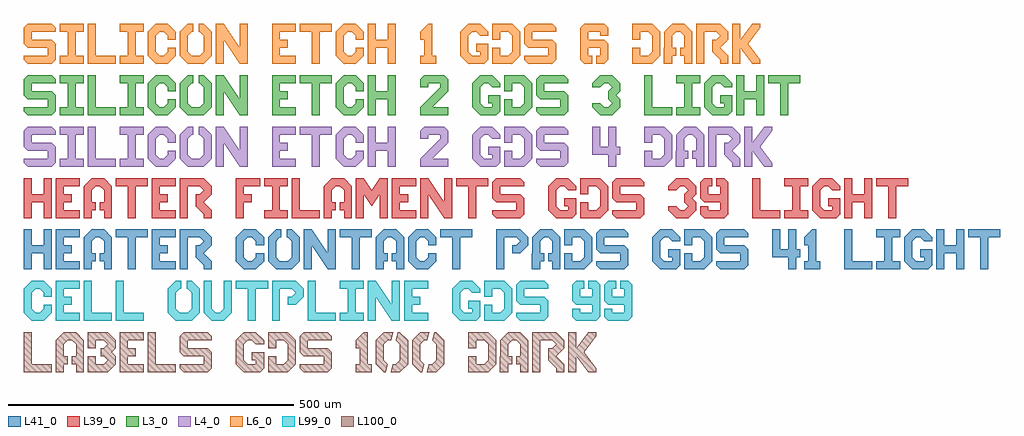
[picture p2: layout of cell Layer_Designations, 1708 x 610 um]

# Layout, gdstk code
import gdstk
lib = gdstk.Library(unit=1e-6, precision=1e-09)
def P(c, l, *ps):  # polygons
    for p in ps: c.add(gdstk.Polygon(p, *l))
L3_0 = (3, 0)
L4_0 = (4, 0)
L6_0 = (6, 0)
L39_0 = (39, 0)
L41_0 = (41, 0)
L99_0 = (99, 0)
L100_0 = (100, 0)

layer_designations = lib.new_cell('Layer_Designations')
P(layer_designations, L3_0, [(14,-90),(7,-83),(7,-76),(49,-76),(49,-62),(14,-62),(7,-55),(7,-27),(14,-20),(56,-20),(63,-27),(63,-34),(21,-34),(21,-48),(56,-48),(63,-55),(63,-83),(56,-90)],
  [(70,-90),(70,-76),(84,-76),(84,-34),(70,-34),(70,-20),(112,-20),(112,-34),(98,-34),(98,-76),(112,-76),(112,-90)],
  [(119,-90),(119,-20),(133,-20),(133,-76),(168,-76),(168,-90)],
  [(175,-90),(175,-76),(189,-76),(189,-34),(175,-34),(175,-20),(217,-20),(217,-34),(203,-34),(203,-76),(217,-76),(217,-90)],
  [(238,-90),(224,-76),(224,-34),(238,-20),(259,-20),(273,-34),(273,-48),(259,-48),(259,-41),(252,-34),(245,-34),(238,-41),(238,-69),(245,-76),(252,-76),(259,-69),(259,-62),(273,-62),(273,-76),(259,-90)],
  [(294,-90),(280,-76),(280,-34),(294,-20),(303.1,-20),(303.1,-34),(301,-34),(294,-41),(294,-69),(301,-76),(315,-76),(322,-69),(322,-41),(315,-34),(312.9,-34),(312.9,-20),(322,-20),(336,-34),(336,-76),(322,-90)],
  [(343,-90),(343,-20),(357,-20),(385,-62),(385,-20),(399,-20),(399,-90),(385,-90),(357,-48),(357,-90)],
  [(441,-90),(441,-20),(483,-20),(483,-34),(455,-34),(455,-48),(469,-48),(469,-62),(455,-62),(455,-76),(483,-76),(483,-90)],
  [(511,-90),(511,-34),(490,-34),(490,-20),(546,-20),(546,-34),(525,-34),(525,-90)],
  [(567,-90),(553,-76),(553,-34),(567,-20),(588,-20),(602,-34),(602,-48),(588,-48),(588,-41),(581,-34),(574,-34),(567,-41),(567,-69),(574,-76),(581,-76),(588,-69),(588,-62),(602,-62),(602,-76),(588,-90)],
  [(609,-90),(609,-20),(623,-20),(623,-48),(644,-48),(644,-20),(658,-20),(658,-90),(644,-90),(644,-62),(623,-62),(623,-90)],
  [(700,-90),(700,-76),(735,-41),(735,-34),(714,-34),(714,-41),(700,-41),(700,-27),(707,-20),(742,-20),(749,-27),(749,-48),(721,-76),(749,-76),(749,-90)],
  [(805,-90),(791,-76),(791,-34),(805,-20),(826,-20),(840,-34),(840,-41),(826,-41),(819,-34),(812,-34),(805,-41),(805,-69),(812,-76),(826,-76),(826,-69),(819,-69),(819,-55),(840,-55),(840,-83),(833,-90)],
  [(847,-90),(847,-62),(861,-62),(861,-76),(875,-76),(882,-69),(882,-41),(875,-34),(861,-34),(861,-48),(847,-48),(847,-20),(882,-20),(896,-34),(896,-76),(882,-90)],
  [(910,-90),(903,-83),(903,-76),(945,-76),(945,-62),(910,-62),(903,-55),(903,-27),(910,-20),(952,-20),(959,-27),(959,-34),(917,-34),(917,-48),(952,-48),(959,-55),(959,-83),(952,-90)],
  [(1015,-90),(1001,-76),(1001,-69),(1015,-69),(1022,-76),(1029,-76),(1036,-69),(1029,-62),(1029,-48),(1036,-41),(1029,-34),(1022,-34),(1015,-41),(1001,-41),(1001,-34),(1015,-20),(1036,-20),(1050,-34),(1050,-48),(1043,-55),(1050,-62),(1050,-76),(1036,-90)],
  [(1092,-90),(1092,-20),(1106,-20),(1106,-76),(1141,-76),(1141,-90)],
  [(1148,-90),(1148,-76),(1162,-76),(1162,-34),(1148,-34),(1148,-20),(1190,-20),(1190,-34),(1176,-34),(1176,-76),(1190,-76),(1190,-90)],
  [(1211,-90),(1197,-76),(1197,-34),(1211,-20),(1232,-20),(1246,-34),(1246,-41),(1232,-41),(1225,-34),(1218,-34),(1211,-41),(1211,-69),(1218,-76),(1232,-76),(1232,-69),(1225,-69),(1225,-55),(1246,-55),(1246,-83),(1239,-90)],
  [(1253,-90),(1253,-20),(1267,-20),(1267,-48),(1288,-48),(1288,-20),(1302,-20),(1302,-90),(1288,-90),(1288,-62),(1267,-62),(1267,-90)],
  [(1330,-90),(1330,-34),(1309,-34),(1309,-20),(1365,-20),(1365,-34),(1344,-34),(1344,-90)])
P(layer_designations, L4_0, [(14,-180),(7,-173),(7,-166),(49,-166),(49,-152),(14,-152),(7,-145),(7,-117),(14,-110),(56,-110),(63,-117),(63,-124),(21,-124),(21,-138),(56,-138),(63,-145),(63,-173),(56,-180)],
  [(70,-180),(70,-166),(84,-166),(84,-124),(70,-124),(70,-110),(112,-110),(112,-124),(98,-124),(98,-166),(112,-166),(112,-180)],
  [(119,-180),(119,-110),(133,-110),(133,-166),(168,-166),(168,-180)],
  [(175,-180),(175,-166),(189,-166),(189,-124),(175,-124),(175,-110),(217,-110),(217,-124),(203,-124),(203,-166),(217,-166),(217,-180)],
  [(238,-180),(224,-166),(224,-124),(238,-110),(259,-110),(273,-124),(273,-138),(259,-138),(259,-131),(252,-124),(245,-124),(238,-131),(238,-159),(245,-166),(252,-166),(259,-159),(259,-152),(273,-152),(273,-166),(259,-180)],
  [(294,-180),(280,-166),(280,-124),(294,-110),(303.1,-110),(303.1,-124),(301,-124),(294,-131),(294,-159),(301,-166),(315,-166),(322,-159),(322,-131),(315,-124),(312.9,-124),(312.9,-110),(322,-110),(336,-124),(336,-166),(322,-180)],
  [(343,-180),(343,-110),(357,-110),(385,-152),(385,-110),(399,-110),(399,-180),(385,-180),(357,-138),(357,-180)],
  [(441,-180),(441,-110),(483,-110),(483,-124),(455,-124),(455,-138),(469,-138),(469,-152),(455,-152),(455,-166),(483,-166),(483,-180)],
  [(511,-180),(511,-124),(490,-124),(490,-110),(546,-110),(546,-124),(525,-124),(525,-180)],
  [(567,-180),(553,-166),(553,-124),(567,-110),(588,-110),(602,-124),(602,-138),(588,-138),(588,-131),(581,-124),(574,-124),(567,-131),(567,-159),(574,-166),(581,-166),(588,-159),(588,-152),(602,-152),(602,-166),(588,-180)],
  [(609,-180),(609,-110),(623,-110),(623,-138),(644,-138),(644,-110),(658,-110),(658,-180),(644,-180),(644,-152),(623,-152),(623,-180)],
  [(700,-180),(700,-166),(735,-131),(735,-124),(714,-124),(714,-131),(700,-131),(700,-117),(707,-110),(742,-110),(749,-117),(749,-138),(721,-166),(749,-166),(749,-180)],
  [(805,-180),(791,-166),(791,-124),(805,-110),(826,-110),(840,-124),(840,-131),(826,-131),(819,-124),(812,-124),(805,-131),(805,-159),(812,-166),(826,-166),(826,-159),(819,-159),(819,-145),(840,-145),(840,-173),(833,-180)],
  [(847,-180),(847,-152),(861,-152),(861,-166),(875,-166),(882,-159),(882,-131),(875,-124),(861,-124),(861,-138),(847,-138),(847,-110),(882,-110),(896,-124),(896,-166),(882,-180)],
  [(910,-180),(903,-173),(903,-166),(945,-166),(945,-152),(910,-152),(903,-145),(903,-117),(910,-110),(952,-110),(959,-117),(959,-124),(917,-124),(917,-138),(952,-138),(959,-145),(959,-173),(952,-180)],
  [(1029,-180),(1029,-159),(1001,-159),(1001,-110),(1015,-110),(1015,-145),(1029,-145),(1029,-110),(1043,-110),(1043,-145),(1050,-145),(1050,-159),(1043,-159),(1043,-180)],
  [(1092,-180),(1092,-152),(1106,-152),(1106,-166),(1120,-166),(1127,-159),(1127,-131),(1120,-124),(1106,-124),(1106,-138),(1092,-138),(1092,-110),(1127,-110),(1141,-124),(1141,-166),(1127,-180)],
  [(1147.93,-180),(1148,-124),(1162,-110),(1183.07,-110),(1197,-124),(1197,-180),(1183.07,-180),(1183.07,-166),(1176,-166),(1176,-152),(1183.07,-152),(1183.07,-131),(1176,-124),(1169,-124),(1162,-131),(1162,-152),(1169,-152),(1169,-166),(1162,-166),(1162,-180)],
  [(1204,-180),(1204,-110),(1246,-110),(1260,-124),(1260,-138),(1246,-152),(1260,-166),(1260,-180),(1246,-180),(1246,-173),(1232,-159),(1232,-138),(1239,-138),(1246,-131),(1239,-124),(1218,-124),(1218,-180)],
  [(1267,-180),(1267,-110),(1281,-110),(1281,-138),(1302,-110),(1316,-110),(1316,-117),(1295,-145),(1316,-173),(1316,-180),(1302,-180),(1281,-152),(1281,-180)])
P(layer_designations, L6_0, [(14,0),(7,7),(7,14),(49,14),(49,28),(14,28),(7,35),(7,63),(14,70),(56,70),(63,63),(63,56),(21,56),(21,42),(56,42),(63,35),(63,7),(56,0)],
  [(70,0),(70,14),(84,14),(84,56),(70,56),(70,70),(112,70),(112,56),(98,56),(98,14),(112,14),(112,0)],
  [(119,0),(119,70),(133,70),(133,14),(168,14),(168,0)],
  [(175,0),(175,14),(189,14),(189,56),(175,56),(175,70),(217,70),(217,56),(203,56),(203,14),(217,14),(217,0)],
  [(238,0),(224,14),(224,56),(238,70),(259,70),(273,56),(273,42),(259,42),(259,49),(252,56),(245,56),(238,49),(238,21),(245,14),(252,14),(259,21),(259,28),(273,28),(273,14),(259,0)],
  [(294,0),(280,14),(280,56),(294,70),(303.1,70),(303.1,56),(301,56),(294,49),(294,21),(301,14),(315,14),(322,21),(322,49),(315,56),(312.9,56),(312.9,70),(322,70),(336,56),(336,14),(322,0)],
  [(343,0),(343,70),(357,70),(385,28),(385,70),(399,70),(399,0),(385,0),(357,42),(357,0)],
  [(441,0),(441,70),(483,70),(483,56),(455,56),(455,42),(469,42),(469,28),(455,28),(455,14),(483,14),(483,0)],
  [(511,0),(511,56),(490,56),(490,70),(546,70),(546,56),(525,56),(525,0)],
  [(567,0),(553,14),(553,56),(567,70),(588,70),(602,56),(602,42),(588,42),(588,49),(581,56),(574,56),(567,49),(567,21),(574,14),(581,14),(588,21),(588,28),(602,28),(602,14),(588,0)],
  [(609,0),(609,70),(623,70),(623,42),(644,42),(644,70),(658,70),(658,0),(644,0),(644,28),(623,28),(623,0)],
  [(700,0),(700,14),(707,14),(707,42),(700,42),(700,56),(714,70),(721,70),(721,14),(728,14),(728,0)],
  [(784,0),(770,14),(770,56),(784,70),(805,70),(819,56),(819,49),(805,49),(798,56),(791,56),(784,49),(784,21),(791,14),(805,14),(805,21),(798,21),(798,35),(819,35),(819,7),(812,0)],
  [(826,0),(826,28),(840,28),(840,14),(854,14),(861,21),(861,49),(854,56),(840,56),(840,42),(826,42),(826,70),(861,70),(875,56),(875,14),(861,0)],
  [(889,0),(882,7),(882,14),(924,14),(924,28),(889,28),(882,35),(882,63),(889,70),(931,70),(938,63),(938,56),(896,56),(896,42),(931,42),(938,35),(938,7),(931,0)],
  [(987,0),(980,7),(980,63),(987,70),(1022,70),(1029,63),(1029,49),(1015,49),(1015,56),(994,56),(994,42),(1022,42),(1029,35),(1029,7),(1022,0),(1008,0),(1008,14),(1015,14),(1015,28),(994,28),(994,14),(1001,14),(1001,0)],
  [(1071,0),(1071,28),(1085,28),(1085,14),(1099,14),(1106,21),(1106,49),(1099,56),(1085,56),(1085,42),(1071,42),(1071,70),(1106,70),(1120,56),(1120,14),(1106,0)],
  [(1126.93,0),(1127,56),(1141,70),(1162.07,70),(1176,56),(1176,0),(1162.07,0),(1162.07,14),(1155,14),(1155,28),(1162.07,28),(1162.07,49),(1155,56),(1148,56),(1141,49),(1141,28),(1148,28),(1148,14),(1141,14),(1141,0)],
  [(1183,0),(1183,70),(1225,70),(1239,56),(1239,42),(1225,28),(1239,14),(1239,0),(1225,0),(1225,7),(1211,21),(1211,42),(1218,42),(1225,49),(1218,56),(1197,56),(1197,0)],
  [(1246,0),(1246,70),(1260,70),(1260,42),(1281,70),(1295,70),(1295,63),(1274,35),(1295,7),(1295,0),(1281,0),(1260,28),(1260,0)])
P(layer_designations, L39_0, [(7,-270),(7,-200),(21,-200),(21,-228),(42,-228),(42,-200),(56,-200),(56,-270),(42,-270),(42,-242),(21,-242),(21,-270)],
  [(63,-270),(63,-200),(105,-200),(105,-214),(77,-214),(77,-228),(91,-228),(91,-242),(77,-242),(77,-256),(105,-256),(105,-270)],
  [(111.93,-270),(112,-214),(126,-200),(147.07,-200),(161,-214),(161,-270),(147.07,-270),(147.07,-256),(140,-256),(140,-242),(147.07,-242),(147.07,-221),(140,-214),(133,-214),(126,-221),(126,-242),(133,-242),(133,-256),(126,-256),(126,-270)],
  [(189,-270),(189,-214),(168,-214),(168,-200),(224,-200),(224,-214),(203,-214),(203,-270)],
  [(231,-270),(231,-200),(273,-200),(273,-214),(245,-214),(245,-228),(259,-228),(259,-242),(245,-242),(245,-256),(273,-256),(273,-270)],
  [(280,-270),(280,-200),(322,-200),(336,-214),(336,-228),(322,-242),(336,-256),(336,-270),(322,-270),(322,-263),(308,-249),(308,-228),(315,-228),(322,-221),(315,-214),(294,-214),(294,-270)],
  [(378,-270),(378,-200),(420,-200),(420,-214),(392,-214),(392,-228),(406,-228),(406,-242),(392,-242),(392,-270)],
  [(427,-270),(427,-256),(441,-256),(441,-214),(427,-214),(427,-200),(469,-200),(469,-214),(455,-214),(455,-256),(469,-256),(469,-270)],
  [(476,-270),(476,-200),(490,-200),(490,-256),(525,-256),(525,-270)],
  [(531.93,-270),(532,-214),(546,-200),(567.07,-200),(581,-214),(581,-270),(567.07,-270),(567.07,-256),(560,-256),(560,-242),(567.07,-242),(567.07,-221),(560,-214),(553,-214),(546,-221),(546,-242),(553,-242),(553,-256),(546,-256),(546,-270)],
  [(588,-270),(588,-200),(602,-200),(616,-221),(630,-200),(644,-200),(644,-270),(630,-270),(630,-228),(616,-249),(602,-228),(602,-270)],
  [(651,-270),(651,-200),(693,-200),(693,-214),(665,-214),(665,-228),(679,-228),(679,-242),(665,-242),(665,-256),(693,-256),(693,-270)],
  [(700,-270),(700,-200),(714,-200),(742,-242),(742,-200),(756,-200),(756,-270),(742,-270),(714,-228),(714,-270)],
  [(784,-270),(784,-214),(763,-214),(763,-200),(819,-200),(819,-214),(798,-214),(798,-270)],
  [(833,-270),(826,-263),(826,-256),(868,-256),(868,-242),(833,-242),(826,-235),(826,-207),(833,-200),(875,-200),(882,-207),(882,-214),(840,-214),(840,-228),(875,-228),(882,-235),(882,-263),(875,-270)],
  [(938,-270),(924,-256),(924,-214),(938,-200),(959,-200),(973,-214),(973,-221),(959,-221),(952,-214),(945,-214),(938,-221),(938,-249),(945,-256),(959,-256),(959,-249),(952,-249),(952,-235),(973,-235),(973,-263),(966,-270)],
  [(980,-270),(980,-242),(994,-242),(994,-256),(1008,-256),(1015,-249),(1015,-221),(1008,-214),(994,-214),(994,-228),(980,-228),(980,-200),(1015,-200),(1029,-214),(1029,-256),(1015,-270)],
  [(1043,-270),(1036,-263),(1036,-256),(1078,-256),(1078,-242),(1043,-242),(1036,-235),(1036,-207),(1043,-200),(1085,-200),(1092,-207),(1092,-214),(1050,-214),(1050,-228),(1085,-228),(1092,-235),(1092,-263),(1085,-270)],
  [(1148,-270),(1134,-256),(1134,-249),(1148,-249),(1155,-256),(1162,-256),(1169,-249),(1162,-242),(1162,-228),(1169,-221),(1162,-214),(1155,-214),(1148,-221),(1134,-221),(1134,-214),(1148,-200),(1169,-200),(1183,-214),(1183,-228),(1176,-235),(1183,-242),(1183,-256),(1169,-270)],
  [(1197,-270),(1190,-263),(1190,-249),(1204,-249),(1204,-256),(1225,-256),(1225,-242),(1197,-242),(1190,-235),(1190,-207),(1197,-200),(1211,-200),(1211,-214),(1204,-214),(1204,-228),(1225,-228),(1225,-214),(1218,-214),(1218,-200),(1232,-200),(1239,-207),(1239,-263),(1232,-270)],
  [(1281,-270),(1281,-200),(1295,-200),(1295,-256),(1330,-256),(1330,-270)],
  [(1337,-270),(1337,-256),(1351,-256),(1351,-214),(1337,-214),(1337,-200),(1379,-200),(1379,-214),(1365,-214),(1365,-256),(1379,-256),(1379,-270)],
  [(1400,-270),(1386,-256),(1386,-214),(1400,-200),(1421,-200),(1435,-214),(1435,-221),(1421,-221),(1414,-214),(1407,-214),(1400,-221),(1400,-249),(1407,-256),(1421,-256),(1421,-249),(1414,-249),(1414,-235),(1435,-235),(1435,-263),(1428,-270)],
  [(1442,-270),(1442,-200),(1456,-200),(1456,-228),(1477,-228),(1477,-200),(1491,-200),(1491,-270),(1477,-270),(1477,-242),(1456,-242),(1456,-270)],
  [(1519,-270),(1519,-214),(1498,-214),(1498,-200),(1554,-200),(1554,-214),(1533,-214),(1533,-270)])
P(layer_designations, L41_0, [(7,-360),(7,-290),(21,-290),(21,-318),(42,-318),(42,-290),(56,-290),(56,-360),(42,-360),(42,-332),(21,-332),(21,-360)],
  [(63,-360),(63,-290),(105,-290),(105,-304),(77,-304),(77,-318),(91,-318),(91,-332),(77,-332),(77,-346),(105,-346),(105,-360)],
  [(111.93,-360),(112,-304),(126,-290),(147.07,-290),(161,-304),(161,-360),(147.07,-360),(147.07,-346),(140,-346),(140,-332),(147.07,-332),(147.07,-311),(140,-304),(133,-304),(126,-311),(126,-332),(133,-332),(133,-346),(126,-346),(126,-360)],
  [(189,-360),(189,-304),(168,-304),(168,-290),(224,-290),(224,-304),(203,-304),(203,-360)],
  [(231,-360),(231,-290),(273,-290),(273,-304),(245,-304),(245,-318),(259,-318),(259,-332),(245,-332),(245,-346),(273,-346),(273,-360)],
  [(280,-360),(280,-290),(322,-290),(336,-304),(336,-318),(322,-332),(336,-346),(336,-360),(322,-360),(322,-353),(308,-339),(308,-318),(315,-318),(322,-311),(315,-304),(294,-304),(294,-360)],
  [(392,-360),(378,-346),(378,-304),(392,-290),(413,-290),(427,-304),(427,-318),(413,-318),(413,-311),(406,-304),(399,-304),(392,-311),(392,-339),(399,-346),(406,-346),(413,-339),(413,-332),(427,-332),(427,-346),(413,-360)],
  [(448,-360),(434,-346),(434,-304),(448,-290),(457.1,-290),(457.1,-304),(455,-304),(448,-311),(448,-339),(455,-346),(469,-346),(476,-339),(476,-311),(469,-304),(466.9,-304),(466.9,-290),(476,-290),(490,-304),(490,-346),(476,-360)],
  [(497,-360),(497,-290),(511,-290),(539,-332),(539,-290),(553,-290),(553,-360),(539,-360),(511,-318),(511,-360)],
  [(581,-360),(581,-304),(560,-304),(560,-290),(616,-290),(616,-304),(595,-304),(595,-360)],
  [(622.93,-360),(623,-304),(637,-290),(658.07,-290),(672,-304),(672,-360),(658.07,-360),(658.07,-346),(651,-346),(651,-332),(658.07,-332),(658.07,-311),(651,-304),(644,-304),(637,-311),(637,-332),(644,-332),(644,-346),(637,-346),(637,-360)],
  [(693,-360),(679,-346),(679,-304),(693,-290),(714,-290),(728,-304),(728,-318),(714,-318),(714,-311),(707,-304),(700,-304),(693,-311),(693,-339),(700,-346),(707,-346),(714,-339),(714,-332),(728,-332),(728,-346),(714,-360)],
  [(756,-360),(756,-304),(735,-304),(735,-290),(791,-290),(791,-304),(770,-304),(770,-360)],
  [(833,-360),(833,-290),(875,-290),(889,-304),(889,-318),(875,-332),(861,-332),(861,-318),(868,-318),(875,-311),(868,-304),(847,-304),(847,-360)],
  [(895.93,-360),(896,-304),(910,-290),(931.07,-290),(945,-304),(945,-360),(931.07,-360),(931.07,-346),(924,-346),(924,-332),(931.07,-332),(931.07,-311),(924,-304),(917,-304),(910,-311),(910,-332),(917,-332),(917,-346),(910,-346),(910,-360)],
  [(952,-360),(952,-332),(966,-332),(966,-346),(980,-346),(987,-339),(987,-311),(980,-304),(966,-304),(966,-318),(952,-318),(952,-290),(987,-290),(1001,-304),(1001,-346),(987,-360)],
  [(1015,-360),(1008,-353),(1008,-346),(1050,-346),(1050,-332),(1015,-332),(1008,-325),(1008,-297),(1015,-290),(1057,-290),(1064,-297),(1064,-304),(1022,-304),(1022,-318),(1057,-318),(1064,-325),(1064,-353),(1057,-360)],
  [(1120,-360),(1106,-346),(1106,-304),(1120,-290),(1141,-290),(1155,-304),(1155,-311),(1141,-311),(1134,-304),(1127,-304),(1120,-311),(1120,-339),(1127,-346),(1141,-346),(1141,-339),(1134,-339),(1134,-325),(1155,-325),(1155,-353),(1148,-360)],
  [(1162,-360),(1162,-332),(1176,-332),(1176,-346),(1190,-346),(1197,-339),(1197,-311),(1190,-304),(1176,-304),(1176,-318),(1162,-318),(1162,-290),(1197,-290),(1211,-304),(1211,-346),(1197,-360)],
  [(1225,-360),(1218,-353),(1218,-346),(1260,-346),(1260,-332),(1225,-332),(1218,-325),(1218,-297),(1225,-290),(1267,-290),(1274,-297),(1274,-304),(1232,-304),(1232,-318),(1267,-318),(1274,-325),(1274,-353),(1267,-360)],
  [(1344,-360),(1344,-339),(1316,-339),(1316,-290),(1330,-290),(1330,-325),(1344,-325),(1344,-290),(1358,-290),(1358,-325),(1365,-325),(1365,-339),(1358,-339),(1358,-360)],
  [(1372,-360),(1372,-346),(1379,-346),(1379,-318),(1372,-318),(1372,-304),(1386,-290),(1393,-290),(1393,-346),(1400,-346),(1400,-360)],
  [(1442,-360),(1442,-290),(1456,-290),(1456,-346),(1491,-346),(1491,-360)],
  [(1498,-360),(1498,-346),(1512,-346),(1512,-304),(1498,-304),(1498,-290),(1540,-290),(1540,-304),(1526,-304),(1526,-346),(1540,-346),(1540,-360)],
  [(1561,-360),(1547,-346),(1547,-304),(1561,-290),(1582,-290),(1596,-304),(1596,-311),(1582,-311),(1575,-304),(1568,-304),(1561,-311),(1561,-339),(1568,-346),(1582,-346),(1582,-339),(1575,-339),(1575,-325),(1596,-325),(1596,-353),(1589,-360)],
  [(1603,-360),(1603,-290),(1617,-290),(1617,-318),(1638,-318),(1638,-290),(1652,-290),(1652,-360),(1638,-360),(1638,-332),(1617,-332),(1617,-360)],
  [(1680,-360),(1680,-304),(1659,-304),(1659,-290),(1715,-290),(1715,-304),(1694,-304),(1694,-360)])
P(layer_designations, L99_0, [(21,-450),(7,-436),(7,-394),(21,-380),(42,-380),(56,-394),(56,-408),(42,-408),(42,-401),(35,-394),(28,-394),(21,-401),(21,-429),(28,-436),(35,-436),(42,-429),(42,-422),(56,-422),(56,-436),(42,-450)],
  [(63,-450),(63,-380),(105,-380),(105,-394),(77,-394),(77,-408),(91,-408),(91,-422),(77,-422),(77,-436),(105,-436),(105,-450)],
  [(112,-450),(112,-380),(126,-380),(126,-436),(161,-436),(161,-450)],
  [(168,-450),(168,-380),(182,-380),(182,-436),(217,-436),(217,-450)],
  [(273,-450),(259,-436),(259,-394),(273,-380),(282.1,-380),(282.1,-394),(280,-394),(273,-401),(273,-429),(280,-436),(294,-436),(301,-429),(301,-401),(294,-394),(291.9,-394),(291.9,-380),(301,-380),(315,-394),(315,-436),(301,-450)],
  [(336,-450),(322,-436),(322,-380),(336,-380),(336,-429),(343,-436),(350,-436),(357,-429),(357,-380),(371,-380),(371,-436),(357,-450)],
  [(399,-450),(399,-394),(378,-394),(378,-380),(434,-380),(434,-394),(413,-394),(413,-450)],
  [(441,-450),(441,-380),(483,-380),(497,-394),(497,-408),(483,-422),(469,-422),(469,-408),(476,-408),(483,-401),(476,-394),(455,-394),(455,-450)],
  [(504,-450),(504,-380),(518,-380),(518,-436),(553,-436),(553,-450)],
  [(560,-450),(560,-436),(574,-436),(574,-394),(560,-394),(560,-380),(602,-380),(602,-394),(588,-394),(588,-436),(602,-436),(602,-450)],
  [(609,-450),(609,-380),(623,-380),(651,-422),(651,-380),(665,-380),(665,-450),(651,-450),(623,-408),(623,-450)],
  [(672,-450),(672,-380),(714,-380),(714,-394),(686,-394),(686,-408),(700,-408),(700,-422),(686,-422),(686,-436),(714,-436),(714,-450)],
  [(770,-450),(756,-436),(756,-394),(770,-380),(791,-380),(805,-394),(805,-401),(791,-401),(784,-394),(777,-394),(770,-401),(770,-429),(777,-436),(791,-436),(791,-429),(784,-429),(784,-415),(805,-415),(805,-443),(798,-450)],
  [(812,-450),(812,-422),(826,-422),(826,-436),(840,-436),(847,-429),(847,-401),(840,-394),(826,-394),(826,-408),(812,-408),(812,-380),(847,-380),(861,-394),(861,-436),(847,-450)],
  [(875,-450),(868,-443),(868,-436),(910,-436),(910,-422),(875,-422),(868,-415),(868,-387),(875,-380),(917,-380),(924,-387),(924,-394),(882,-394),(882,-408),(917,-408),(924,-415),(924,-443),(917,-450)],
  [(973,-450),(966,-443),(966,-429),(980,-429),(980,-436),(1001,-436),(1001,-422),(973,-422),(966,-415),(966,-387),(973,-380),(987,-380),(987,-394),(980,-394),(980,-408),(1001,-408),(1001,-394),(994,-394),(994,-380),(1008,-380),(1015,-387),(1015,-443),(1008,-450)],
  [(1029,-450),(1022,-443),(1022,-429),(1036,-429),(1036,-436),(1057,-436),(1057,-422),(1029,-422),(1022,-415),(1022,-387),(1029,-380),(1043,-380),(1043,-394),(1036,-394),(1036,-408),(1057,-408),(1057,-394),(1050,-394),(1050,-380),(1064,-380),(1071,-387),(1071,-443),(1064,-450)])
P(layer_designations, L100_0, [(7,-540),(7,-470),(21,-470),(21,-526),(56,-526),(56,-540)],
  [(62.93,-540),(63,-484),(77,-470),(98.07,-470),(112,-484),(112,-540),(98.07,-540),(98.07,-526),(91,-526),(91,-512),(98.07,-512),(98.07,-491),(91,-484),(84,-484),(77,-491),(77,-512),(84,-512),(84,-526),(77,-526),(77,-540)],
  [(119,-540),(119,-512),(133,-512),(133,-526),(147,-526),(154,-519),(147,-512),(141.4,-512),(141.4,-498),(147,-498),(154,-491),(147,-484),(133,-484),(133,-498),(119,-498),(119,-470),(154,-470),(168,-484),(168,-498),(161,-505),(168,-512),(168,-526),(154,-540)],
  [(175,-540),(175,-470),(217,-470),(217,-484),(189,-484),(189,-498),(203,-498),(203,-512),(189,-512),(189,-526),(217,-526),(217,-540)],
  [(224,-540),(224,-470),(238,-470),(238,-526),(273,-526),(273,-540)],
  [(287,-540),(280,-533),(280,-526),(322,-526),(322,-512),(287,-512),(280,-505),(280,-477),(287,-470),(329,-470),(336,-477),(336,-484),(294,-484),(294,-498),(329,-498),(336,-505),(336,-533),(329,-540)],
  [(392,-540),(378,-526),(378,-484),(392,-470),(413,-470),(427,-484),(427,-491),(413,-491),(406,-484),(399,-484),(392,-491),(392,-519),(399,-526),(413,-526),(413,-519),(406,-519),(406,-505),(427,-505),(427,-533),(420,-540)],
  [(434,-540),(434,-512),(448,-512),(448,-526),(462,-526),(469,-519),(469,-491),(462,-484),(448,-484),(448,-498),(434,-498),(434,-470),(469,-470),(483,-484),(483,-526),(469,-540)],
  [(497,-540),(490,-533),(490,-526),(532,-526),(532,-512),(497,-512),(490,-505),(490,-477),(497,-470),(539,-470),(546,-477),(546,-484),(504,-484),(504,-498),(539,-498),(546,-505),(546,-533),(539,-540)],
  [(588,-540),(588,-526),(595,-526),(595,-498),(588,-498),(588,-484),(602,-470),(609,-470),(609,-526),(616,-526),(616,-540)],
  [(637,-540),(623,-526),(623,-484),(637,-470),(653.1,-470),(649.6,-484),(644,-484),(637,-491),(637,-519),(644,-526),(640.5,-540)],
  [(648.9,-540),(652.4,-526),(658,-526),(665,-519),(665,-491),(658,-484),(661.5,-470),(665,-470),(679,-484),(679,-526),(665,-540)],
  [(700,-540),(686,-526),(686,-484),(700,-470),(716.1,-470),(712.6,-484),(707,-484),(700,-491),(700,-519),(707,-526),(703.5,-540)],
  [(711.9,-540),(715.4,-526),(721,-526),(728,-519),(728,-491),(721,-484),(724.5,-470),(728,-470),(742,-484),(742,-526),(728,-540)],
  [(784,-540),(784,-512),(798,-512),(798,-526),(812,-526),(819,-519),(819,-491),(812,-484),(798,-484),(798,-498),(784,-498),(784,-470),(819,-470),(833,-484),(833,-526),(819,-540)],
  [(839.93,-540),(840,-484),(854,-470),(875.07,-470),(889,-484),(889,-540),(875.07,-540),(875.07,-526),(868,-526),(868,-512),(875.07,-512),(875.07,-491),(868,-484),(861,-484),(854,-491),(854,-512),(861,-512),(861,-526),(854,-526),(854,-540)],
  [(896,-540),(896,-470),(938,-470),(952,-484),(952,-498),(938,-512),(952,-526),(952,-540),(938,-540),(938,-533),(924,-519),(924,-498),(931,-498),(938,-491),(931,-484),(910,-484),(910,-540)],
  [(959,-540),(959,-470),(973,-470),(973,-498),(994,-470),(1008,-470),(1008,-477),(987,-505),(1008,-533),(1008,-540),(994,-540),(973,-512),(973,-540)])

lib.write_gds('Layer_Designations.gds')
